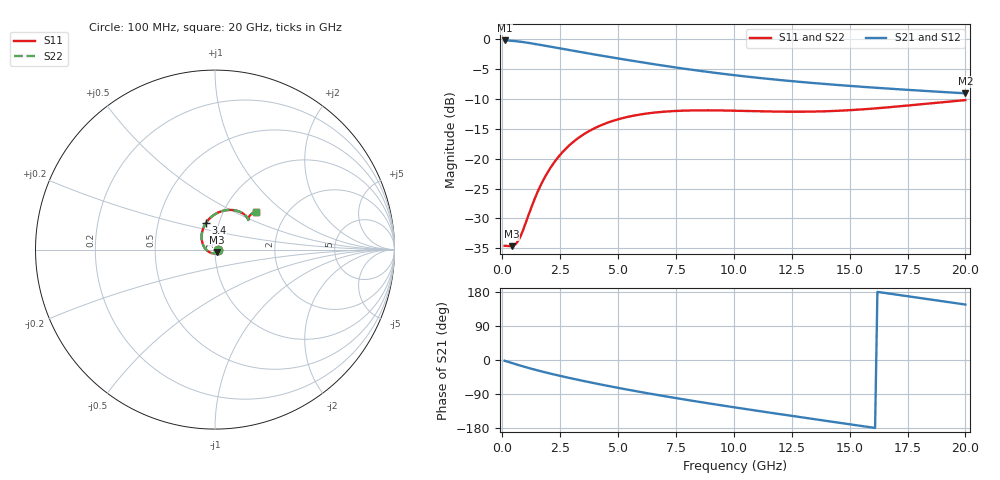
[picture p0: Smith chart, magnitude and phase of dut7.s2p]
! Created with skrf 1.9.0 (http://scikit-rf.org).
# GHz S RI R 50.0
!freq ReS11 ImS11 ReS21 ImS21 ReS12 ImS12 ReS22 ImS22
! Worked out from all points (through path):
!   200 points, 100 MHz to 20 GHz, reference 50 ohm
!   highest |S21| = -0.17 dB at 100 MHz (marker M1); lowest = -9.0 dB at 20 GHz (marker M2)
!   group delay of S21, straight-line fit = 27.9 ps
!   lowest |S11| = -34.6 dB at 400 MHz (marker M3), VSWR 1.04, Z = 51.1 - j1.52 ohm
!   |S11| at or under -10 dB: start of sweep to end of sweep
!   |S22| runs from -34.6 to -10.2 dB; largest |S21 - S12| = 2.8e-15
!   S11 on the Smith chart (normalised r, x): 100 MHz: 1.04, -0.01; 3.4 GHz: 0.87, +0.26; 20 GHz: 1.41, +0.66
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0.1  0.0183 -0.00369  0.9802 -0.0338  0.9802 -0.0338  0.0183 -0.00369
0.4  0.0111 -0.0148  0.9655 -0.1313  0.9655 -0.1313  0.0111 -0.0148
0.6  0.00203 -0.0194  0.9471 -0.1929  0.9471 -0.1929  0.00203 -0.0194
0.8  -0.00933 -0.0207  0.9231 -0.2504  0.9231 -0.2504  -0.00933 -0.0207
1.5  -0.0514 0.00191  0.8106 -0.4147  0.8106 -0.4147  -0.0514 0.00191
1.7  -0.0606 0.0148  0.7743 -0.4513  0.7743 -0.4513  -0.0606 0.0148
2  -0.0702 0.0373  0.7185 -0.4989  0.7185 -0.4989  -0.0702 0.0373
2.6  -0.0737 0.0866  0.6061 -0.5719  0.6061 -0.5719  -0.0737 0.0866
3.4  -0.0519 0.146  0.4601 -0.6329  0.4601 -0.6329  -0.0519 0.146
3.5  -0.0477 0.1524  0.4424 -0.6381  0.4424 -0.6381  -0.0477 0.1524
4.2  -0.013 0.1882  0.3226 -0.6616  0.3226 -0.6616  -0.013 0.1882
4.9  0.0256 0.2099  0.2117 -0.6655  0.2117 -0.6655  0.0256 0.2099
5.9  0.0774 0.221  0.0715 -0.6453  0.0715 -0.6453  0.0774 0.221
6.8  0.1154 0.2177  -0.0355 -0.6087  -0.0355 -0.6087  0.1154 0.2177
8.4  0.1595 0.1984  -0.1835 -0.5184  -0.1835 -0.5184  0.1595 0.1984
10.1  0.18 0.1775  -0.2913 -0.4062  -0.2913 -0.4062  0.18 0.1775
11.7  0.1849 0.1666  -0.3559 -0.296  -0.3559 -0.296  0.1849 0.1666
13.4  0.1848 0.1664  -0.3928 -0.1795  -0.3928 -0.1795  0.1848 0.1664
15  0.1862 0.1748  -0.4015 -0.0736  -0.4015 -0.0736  0.1862 0.1748
16.7  0.1936 0.1888  -0.3858 0.0312  -0.3858 0.0312  0.1936 0.1888
18.3  0.2071 0.2019  -0.3504 0.1187  -0.3504 0.1187  0.2071 0.2019
20  0.2269 0.2117  -0.2945 0.1961  -0.2945 0.1961  0.2269 0.2117
